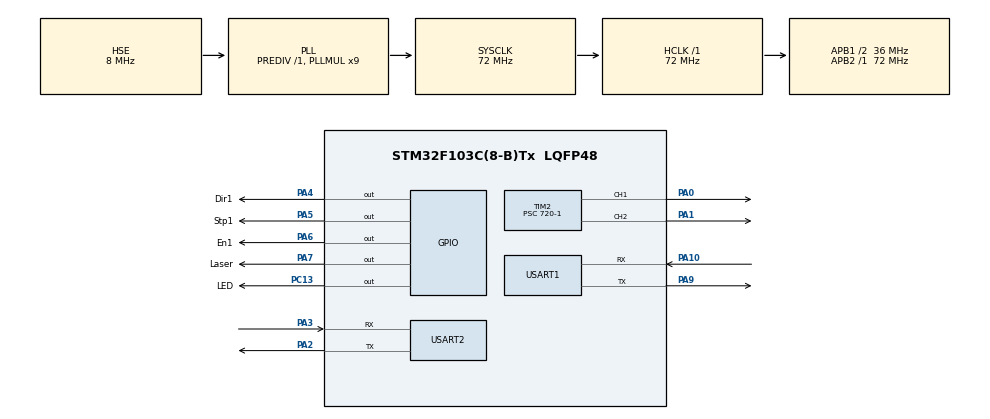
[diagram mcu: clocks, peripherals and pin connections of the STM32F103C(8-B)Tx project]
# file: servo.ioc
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Mcu.Family=STM32F1
Mcu.Name=STM32F103C(8-B)Tx
Mcu.Package=LQFP48
NVIC.PriorityGroup=NVIC_PRIORITYGROUP_4
NVIC.TIM2_IRQn=true\:0\:0\:false\:false\:true\:true\:true\:true
NVIC.USART1_IRQn=true\:0\:0\:false\:false\:true\:true\:true\:true
NVIC.USART2_IRQn=true\:0\:0\:false\:false\:true\:true\:true\:true
PA0-WKUP.Signal=S_TIM2_CH1_ETR
PA1.Signal=S_TIM2_CH2
PA10.Mode=Asynchronous
PA10.Signal=USART1_RX
PA13.Mode=Serial_Wire
PA13.Signal=SYS_JTMS-SWDIO
PA14.Mode=Serial_Wire
PA14.Signal=SYS_JTCK-SWCLK
PA2.Mode=Asynchronous
PA2.Signal=USART2_TX
PA3.Mode=Asynchronous
PA3.Signal=USART2_RX
PA4.GPIO_Label=Dir1
PA4.GPIO_Speed=GPIO_SPEED_FREQ_HIGH
PA4.Signal=GPIO_Output
PA5.GPIO_Label=Stp1
PA5.GPIO_Speed=GPIO_SPEED_FREQ_HIGH
PA5.Signal=GPIO_Output
PA6.GPIO_Label=En1
PA6.GPIO_Speed=GPIO_SPEED_FREQ_HIGH
PA6.Signal=GPIO_Output
PA7.GPIO_Label=Laser
PA7.GPIO_ModeDefaultOutputPP=GPIO_MODE_OUTPUT_OD
PA7.GPIO_PuPd=GPIO_NOPULL
PA7.GPIO_Speed=GPIO_SPEED_FREQ_LOW
PA7.PinState=GPIO_PIN_SET
PA7.Signal=GPIO_Output
PA9.Mode=Asynchronous
PA9.Signal=USART1_TX
PC13-TAMPER-RTC.GPIO_Label=LED
PC13-TAMPER-RTC.Signal=GPIO_Output
PD0-OSC_IN.Mode=HSE-External-Oscillator
PD0-OSC_IN.Signal=RCC_OSC_IN
PD1-OSC_OUT.Mode=HSE-External-Oscillator
PD1-OSC_OUT.Signal=RCC_OSC_OUT
ProjectManager.HeapSize=0x200
ProjectManager.StackSize=0x400
ProjectManager.TargetToolchain=Makefile
RCC.AHBFreq_Value=72000000
RCC.APB1CLKDivider=RCC_HCLK_DIV2
RCC.APB1Freq_Value=36000000
RCC.APB1TimFreq_Value=72000000
RCC.APB2Freq_Value=72000000
RCC.APB2TimFreq_Value=72000000
RCC.HCLKFreq_Value=72000000
RCC.PLLMUL=RCC_PLL_MUL9
RCC.PLLSourceVirtual=RCC_PLLSOURCE_HSE
RCC.SYSCLKFreq_VALUE=72000000
RCC.SYSCLKSource=RCC_SYSCLKSOURCE_PLLCLK
RCC.USBFreq_Value=72000000
SH.S_TIM2_CH1_ETR.0=TIM2_CH1,PWM Generation1 CH1
SH.S_TIM2_CH2.0=TIM2_CH2,PWM Generation2 CH2
TIM2.Channel-PWM\ Generation1\ CH1=TIM_CHANNEL_1
TIM2.Channel-PWM\ Generation2\ CH2=TIM_CHANNEL_2
TIM2.Period=2000-1
TIM2.Prescaler=720-1
USART1.VirtualMode=VM_ASYNC
USART2.VirtualMode=VM_ASYNC
board=custom

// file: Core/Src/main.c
/* USER CODE BEGIN Header */
/**
 ******************************************************************************
 * @file           : main.c
 * @brief          : Main program body
 ******************************************************************************
 * @attention
 *
 * Copyright (c) 2025 STMicroelectronics.
 * All rights reserved.
 *
 * This software is licensed under terms that can be found in the LICENSE file
 * in the root directory of this software component.
 * If no LICENSE file comes with this software, it is provided AS-IS.
 *
 ******************************************************************************
 */
/* USER CODE END Header */
#include "main.h"
#include "tim.h"
#include "usart.h"
#include "gpio.h"

/* USER CODE BEGIN Includes */
#include <stdio.h>
#include <string.h>
#include <stdlib.h>
#include "jy61.h"
#include "gimbal.h"
/* USER CODE END Includes */

/* USER CODE BEGIN PV */
// 串口交互变量
uint8_t rx_buffer[32];
uint8_t rx_index = 0;
uint8_t packet_ready = 0;
uint8_t rx_byte;

// 协议状态机
typedef enum
{
    STATE_WAIT_HEADER1,
    STATE_WAIT_HEADER2,
    STATE_WAIT_LEN,
    STATE_WAIT_DATA,
    STATE_WAIT_CHECKSUM
} ProtocolState;

static ProtocolState g_rx_state = STATE_WAIT_HEADER1;
static uint8_t g_data_len = 0;
static uint8_t g_checksum = 0;
/* USER CODE END PV */

void SystemClock_Config(void);
/* USER CODE BEGIN PFP */
void process_uart_packet(void);
void parse_protocol_packet(uint8_t *data, uint16_t len);
extern TIM_HandleTypeDef htim2;
extern UART_HandleTypeDef huart1;
extern UART_HandleTypeDef huart2;
/* USER CODE END PFP */

/* USER CODE BEGIN 0 */

void process_uart_packet(void)
{
    if (packet_ready)
    {
        HAL_UART_AbortReceive_IT(&huart1);
        parse_protocol_packet(rx_buffer, g_data_len);
        rx_index = 0;
        packet_ready = 0;
        g_rx_state = STATE_WAIT_HEADER1;
        HAL_UART_Receive_IT(&huart1, &rx_byte, 1);
    }
}

void parse_protocol_packet(uint8_t *data, uint16_t len)
{
    double delta_x = 0, delta_y = 0;
    memcpy(&delta_x, &data[0], sizeof(double));
    memcpy(&delta_y, &data[8], sizeof(double));

    if (delta_x == 500.0 && delta_y == 500.0)
    {
        HAL_GPIO_WritePin(GPIOA, Laser_Pin, GPIO_PIN_RESET);
        return;
    }

    double new_upper = upper_angle + delta_y;
    double new_lower = lower_angle + delta_x;

    if (new_upper < 0)
        new_upper = 0;
    if (new_upper > 270)
        new_upper = 270;

    upper_angle = new_upper;
    servo_set_upper_angle(upper_angle);
    servo_set_lower_angle(new_lower);

    HAL_GPIO_TogglePin(GPIOC, GPIO_PIN_13);
}

void HAL_UART_RxCpltCallback(UART_HandleTypeDef *huart)
{
    if (huart->Instance == USART1)
    {
        switch (g_rx_state)
        {
        case STATE_WAIT_HEADER1:
            if (rx_byte == 0xAA)
                g_rx_state = STATE_WAIT_HEADER2;
            break;
        case STATE_WAIT_HEADER2:
            if (rx_byte == 0xBB)
                g_rx_state = STATE_WAIT_LEN;
            else
                g_rx_state = STATE_WAIT_HEADER1;
            break;
        case STATE_WAIT_LEN:
            g_data_len = rx_byte;
            if (g_data_len > 0 && g_data_len <= sizeof(rx_buffer))
            {
                rx_index = 0;
                g_checksum = 0;
                g_rx_state = STATE_WAIT_DATA;
            }
            else
            {
                g_rx_state = STATE_WAIT_HEADER1;
            }
            break;
        case STATE_WAIT_DATA:
            rx_buffer[rx_index++] = rx_byte;
            if (rx_index >= g_data_len)
            {
                g_rx_state = STATE_WAIT_CHECKSUM;
            }
            break;
        case STATE_WAIT_CHECKSUM:
            {
                uint8_t sum = 0;
                for (uint8_t i = 0; i < g_data_len; i++)
                    sum += rx_buffer[i];
                if (sum == rx_byte)
                    packet_ready = 1;
                g_rx_state = STATE_WAIT_HEADER1;
            }
            break;
        }
        HAL_UART_Receive_IT(&huart1, &rx_byte, 1);
    }
    else if (huart->Instance == USART2)
    {
        jy61_receive_data(rx_byte_jy61);
        HAL_UART_Receive_IT(&huart2, &rx_byte_jy61, 1);
    }
}
/* USER CODE END 0 */

int main(void)
{

    /* MCU Configuration--------------------------------------------------------*/
    /* Reset of all peripherals, Initializes the Flash interface and the Systick. */
    HAL_Init();

    /* Configure the system clock */
    SystemClock_Config();

    /* Initialize all configured peripherals */
    MX_GPIO_Init();
    MX_TIM2_Init();
    MX_USART1_UART_Init();
    MX_USART2_UART_Init();
    /* USER CODE BEGIN 2 */
    HAL_TIM_PWM_Start(&htim2, TIM_CHANNEL_1);
    HAL_TIM_PWM_Start(&htim2, TIM_CHANNEL_2);
    HAL_TIM_PWM_Start(&htim2, TIM_CHANNEL_3);

    jy61_init();
    servo_set_upper_angle(upper_angle);

    HAL_UART_Receive_IT(&huart1, &rx_byte, 1);
    HAL_UART_Receive_IT(&huart2, &rx_byte_jy61, 1);

    char welcome[] = "Protocol Parser Ready\r\n";
    HAL_UART_Transmit(&huart1, (uint8_t *)welcome, strlen(welcome), 1000);

    stepper1_enable(1);
    /* USER CODE END 2 */

    /* Infinite loop */
    /* USER CODE BEGIN WHILE */
    while (1)
    {
        /* USER CODE BEGIN 3 */
        process_uart_packet();
    }
    /* USER CODE END 3 */
}

void SystemClock_Config(void)
{
    RCC_OscInitTypeDef RCC_OscInitStruct = {0};
    RCC_ClkInitTypeDef RCC_ClkInitStruct = {0};

    RCC_OscInitStruct.OscillatorType = RCC_OSCILLATORTYPE_HSE;
    RCC_OscInitStruct.HSEState = RCC_HSE_ON;
    RCC_OscInitStruct.HSEPredivValue = RCC_HSE_PREDIV_DIV1;
    RCC_OscInitStruct.HSIState = RCC_HSI_ON;
    RCC_OscInitStruct.PLL.PLLState = RCC_PLL_ON;
    RCC_OscInitStruct.PLL.PLLSource = RCC_PLLSOURCE_HSE;
    RCC_OscInitStruct.PLL.PLLMUL = RCC_PLL_MUL9;
    if (HAL_RCC_OscConfig(&RCC_OscInitStruct) != HAL_OK)
    {
        Error_Handler();
    }

    RCC_ClkInitStruct.ClockType = RCC_CLOCKTYPE_HCLK | RCC_CLOCKTYPE_SYSCLK | RCC_CLOCKTYPE_PCLK1 | RCC_CLOCKTYPE_PCLK2;
    RCC_ClkInitStruct.SYSCLKSource = RCC_SYSCLKSOURCE_PLLCLK;
    RCC_ClkInitStruct.AHBCLKDivider = RCC_SYSCLK_DIV1;
    RCC_ClkInitStruct.APB1CLKDivider = RCC_HCLK_DIV2;
    RCC_ClkInitStruct.APB2CLKDivider = RCC_HCLK_DIV1;

    if (HAL_RCC_ClockConfig(&RCC_ClkInitStruct, FLASH_LATENCY_2) != HAL_OK)
    {
        Error_Handler();
    }
}

void Error_Handler(void)
{
    __disable_irq();
    while (1)
    {
    }
}
